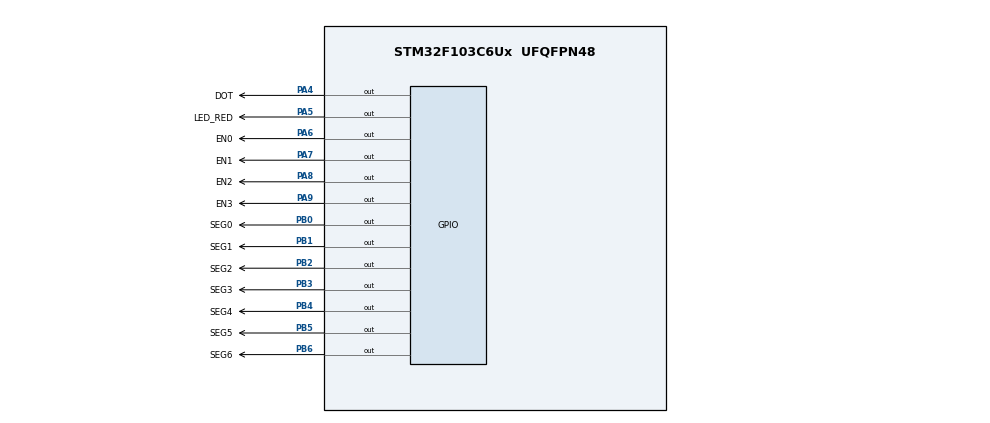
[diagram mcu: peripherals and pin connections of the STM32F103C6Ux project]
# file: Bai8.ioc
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Mcu.Family=STM32F1
Mcu.Name=STM32F103C6Ux
Mcu.Package=UFQFPN48
NVIC.PriorityGroup=NVIC_PRIORITYGROUP_4
NVIC.TIM2_IRQn=true\:0\:0\:false\:false\:true\:true\:true\:true
PA4.GPIO_Label=DOT
PA4.Signal=GPIO_Output
PA5.GPIO_Label=LED_RED
PA5.Signal=GPIO_Output
PA6.GPIO_Label=EN0
PA6.Signal=GPIO_Output
PA7.GPIO_Label=EN1
PA7.Signal=GPIO_Output
PA8.GPIO_Label=EN2
PA8.Signal=GPIO_Output
PA9.GPIO_Label=EN3
PA9.Signal=GPIO_Output
PB0.GPIO_Label=SEG0
PB0.Signal=GPIO_Output
PB1.GPIO_Label=SEG1
PB1.Signal=GPIO_Output
PB2.GPIO_Label=SEG2
PB2.Signal=GPIO_Output
PB3.GPIO_Label=SEG3
PB3.Signal=GPIO_Output
PB4.GPIO_Label=SEG4
PB4.Signal=GPIO_Output
PB5.GPIO_Label=SEG5
PB5.Signal=GPIO_Output
PB6.GPIO_Label=SEG6
PB6.Signal=GPIO_Output
ProjectManager.HeapSize=0x200
ProjectManager.StackSize=0x400
ProjectManager.TargetToolchain=STM32CubeIDE
RCC.APB1Freq_Value=8000000
RCC.APB2Freq_Value=8000000
TIM2.Period=9
TIM2.Prescaler=7999
VP_SYS_VS_ND.Mode=No_Debug
VP_TIM2_VS_ClockSourceINT.Mode=Internal
board=custom

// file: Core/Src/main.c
/* USER CODE BEGIN Header */
/**
 ******************************************************************************
 * @file           : main.c
 * @brief          : Main program body
 ******************************************************************************
 * @attention
 *
 * Copyright (c) 2022 STMicroelectronics.
 * All rights reserved.
 *
 * This software is licensed under terms that can be found in the LICENSE file
 * in the root directory of this software component.
 * If no LICENSE file comes with this software, it is provided AS-IS.
 *
 ******************************************************************************
 */
/* USER CODE END Header */
#include "main.h"

TIM_HandleTypeDef htim2;

void SystemClock_Config(void);
static void MX_GPIO_Init(void);
static void MX_TIM2_Init(void);

/* USER CODE BEGIN 0 */
void display7SEG(int num)
{
	// num is the time displayed on the 7-segment led
	if (num == 0)
	{
		HAL_GPIO_WritePin(SEG0_GPIO_Port, SEG0_Pin, 0);
		HAL_GPIO_WritePin(SEG1_GPIO_Port, SEG1_Pin, 0);
		HAL_GPIO_WritePin(SEG2_GPIO_Port, SEG2_Pin, 0);
		HAL_GPIO_WritePin(SEG3_GPIO_Port, SEG3_Pin, 0);
		HAL_GPIO_WritePin(SEG4_GPIO_Port, SEG4_Pin, 0);
		HAL_GPIO_WritePin(SEG5_GPIO_Port, SEG5_Pin, 0);
		HAL_GPIO_WritePin(SEG6_GPIO_Port, SEG6_Pin, 1);
	}
	if (num == 1)
	{
		HAL_GPIO_WritePin(SEG0_GPIO_Port, SEG0_Pin, 1);
		HAL_GPIO_WritePin(SEG1_GPIO_Port, SEG1_Pin, 0);
		HAL_GPIO_WritePin(SEG2_GPIO_Port, SEG2_Pin, 0);
		HAL_GPIO_WritePin(SEG3_GPIO_Port, SEG3_Pin, 1);
		HAL_GPIO_WritePin(SEG4_GPIO_Port, SEG4_Pin, 1);
		HAL_GPIO_WritePin(SEG5_GPIO_Port, SEG5_Pin, 1);
		HAL_GPIO_WritePin(SEG6_GPIO_Port, SEG6_Pin, 1);
	}
	if (num == 2)
	{
		HAL_GPIO_WritePin(SEG0_GPIO_Port, SEG0_Pin, 0);
		HAL_GPIO_WritePin(SEG1_GPIO_Port, SEG1_Pin, 0);
		HAL_GPIO_WritePin(SEG2_GPIO_Port, SEG2_Pin, 1);
		HAL_GPIO_WritePin(SEG3_GPIO_Port, SEG3_Pin, 0);
		HAL_GPIO_WritePin(SEG4_GPIO_Port, SEG4_Pin, 0);
		HAL_GPIO_WritePin(SEG5_GPIO_Port, SEG5_Pin, 1);
		HAL_GPIO_WritePin(SEG6_GPIO_Port, SEG6_Pin, 0);
	}
	if (num == 3)
	{
		HAL_GPIO_WritePin(SEG0_GPIO_Port, SEG0_Pin, 0);
		HAL_GPIO_WritePin(SEG1_GPIO_Port, SEG1_Pin, 0);
		HAL_GPIO_WritePin(SEG2_GPIO_Port, SEG2_Pin, 0);
		HAL_GPIO_WritePin(SEG3_GPIO_Port, SEG3_Pin, 0);
		HAL_GPIO_WritePin(SEG4_GPIO_Port, SEG4_Pin, 1);
		HAL_GPIO_WritePin(SEG5_GPIO_Port, SEG5_Pin, 1);
		HAL_GPIO_WritePin(SEG6_GPIO_Port, SEG6_Pin, 0);
	}
	if (num == 4)
	{
		HAL_GPIO_WritePin(SEG0_GPIO_Port, SEG0_Pin, 1);
		HAL_GPIO_WritePin(SEG1_GPIO_Port, SEG1_Pin, 0);
		HAL_GPIO_WritePin(SEG2_GPIO_Port, SEG2_Pin, 0);
		HAL_GPIO_WritePin(SEG3_GPIO_Port, SEG3_Pin, 1);
		HAL_GPIO_WritePin(SEG4_GPIO_Port, SEG4_Pin, 1);
		HAL_GPIO_WritePin(SEG5_GPIO_Port, SEG5_Pin, 0);
		HAL_GPIO_WritePin(SEG6_GPIO_Port, SEG6_Pin, 0);
	}
	if (num == 5)
	{
		HAL_GPIO_WritePin(SEG0_GPIO_Port, SEG0_Pin, 0);
		HAL_GPIO_WritePin(SEG1_GPIO_Port, SEG1_Pin, 1);
		HAL_GPIO_WritePin(SEG2_GPIO_Port, SEG2_Pin, 0);
		HAL_GPIO_WritePin(SEG3_GPIO_Port, SEG3_Pin, 0);
		HAL_GPIO_WritePin(SEG4_GPIO_Port, SEG4_Pin, 1);
		HAL_GPIO_WritePin(SEG5_GPIO_Port, SEG5_Pin, 0);
		HAL_GPIO_WritePin(SEG6_GPIO_Port, SEG6_Pin, 0);
	}
	if (num == 6)
	{
		HAL_GPIO_WritePin(SEG0_GPIO_Port, SEG0_Pin, 0);
		HAL_GPIO_WritePin(SEG1_GPIO_Port, SEG1_Pin, 1);
		HAL_GPIO_WritePin(SEG2_GPIO_Port, SEG2_Pin, 0);
		HAL_GPIO_WritePin(SEG3_GPIO_Port, SEG3_Pin, 0);
		HAL_GPIO_WritePin(SEG4_GPIO_Port, SEG4_Pin, 0);
		HAL_GPIO_WritePin(SEG5_GPIO_Port, SEG5_Pin, 0);
		HAL_GPIO_WritePin(SEG6_GPIO_Port, SEG6_Pin, 0);
	}
	if (num == 7)
	{
		HAL_GPIO_WritePin(SEG0_GPIO_Port, SEG0_Pin, 0);
		HAL_GPIO_WritePin(SEG1_GPIO_Port, SEG1_Pin, 0);
		HAL_GPIO_WritePin(SEG2_GPIO_Port, SEG2_Pin, 0);
		HAL_GPIO_WritePin(SEG3_GPIO_Port, SEG3_Pin, 1);
		HAL_GPIO_WritePin(SEG4_GPIO_Port, SEG4_Pin, 1);
		HAL_GPIO_WritePin(SEG5_GPIO_Port, SEG5_Pin, 1);
		HAL_GPIO_WritePin(SEG6_GPIO_Port, SEG6_Pin, 1);
	}
	if (num == 8)
	{
		HAL_GPIO_WritePin(SEG0_GPIO_Port, SEG0_Pin, 0);
		HAL_GPIO_WritePin(SEG1_GPIO_Port, SEG1_Pin, 0);
		HAL_GPIO_WritePin(SEG2_GPIO_Port, SEG2_Pin, 0);
		HAL_GPIO_WritePin(SEG3_GPIO_Port, SEG3_Pin, 0);
		HAL_GPIO_WritePin(SEG4_GPIO_Port, SEG4_Pin, 0);
		HAL_GPIO_WritePin(SEG5_GPIO_Port, SEG5_Pin, 0);
		HAL_GPIO_WritePin(SEG6_GPIO_Port, SEG6_Pin, 0);
	}
	if (num == 9)
	{
		HAL_GPIO_WritePin(SEG0_GPIO_Port, SEG0_Pin, 0);
		HAL_GPIO_WritePin(SEG1_GPIO_Port, SEG1_Pin, 0);
		HAL_GPIO_WritePin(SEG2_GPIO_Port, SEG2_Pin, 0);
		HAL_GPIO_WritePin(SEG3_GPIO_Port, SEG3_Pin, 0);
		HAL_GPIO_WritePin(SEG4_GPIO_Port, SEG4_Pin, 1);
		HAL_GPIO_WritePin(SEG5_GPIO_Port, SEG5_Pin, 0);
		HAL_GPIO_WritePin(SEG6_GPIO_Port, SEG6_Pin, 0);
	}
}

int led_buffer[4];
int hour = 15, minute = 8, second = 50;
void updateClockBuffer()
{
	led_buffer[0] = hour / 10;	 // 15:10=1
	led_buffer[1] = hour % 10;	 // 15%10=5
	led_buffer[2] = minute / 10; // 8:10=0
	led_buffer[3] = minute % 10; // 8%10=8
}

void update7SEG(int index)
{
	switch (index)
	{
	case 0:
		// Display the first 7SEG with led_buffer[0]
		HAL_GPIO_WritePin(EN0_GPIO_Port, EN0_Pin, 0);
		HAL_GPIO_WritePin(EN1_GPIO_Port, EN1_Pin, 1);
		HAL_GPIO_WritePin(EN2_GPIO_Port, EN2_Pin, 1);
		HAL_GPIO_WritePin(EN3_GPIO_Port, EN3_Pin, 1);
		display7SEG(led_buffer[0]);

		break;
	case 1:
		// Display the second 7SEG with led_buffer[1]
		HAL_GPIO_WritePin(EN0_GPIO_Port, EN0_Pin, 1);
		HAL_GPIO_WritePin(EN1_GPIO_Port, EN1_Pin, 0);
		HAL_GPIO_WritePin(EN2_GPIO_Port, EN2_Pin, 1);
		HAL_GPIO_WritePin(EN3_GPIO_Port, EN3_Pin, 1);
		display7SEG(led_buffer[1]);
		break;
	case 2:
		// Display the third 7SEG with led_buffer[2]
		HAL_GPIO_WritePin(EN0_GPIO_Port, EN0_Pin, 1);
		HAL_GPIO_WritePin(EN1_GPIO_Port, EN1_Pin, 1);
		HAL_GPIO_WritePin(EN2_GPIO_Port, EN2_Pin, 0);
		HAL_GPIO_WritePin(EN3_GPIO_Port, EN3_Pin, 1);
		display7SEG(led_buffer[2]);
		break;
	case 3:
		// Display the forth 7SEG with led_buffer[3]
		HAL_GPIO_WritePin(EN0_GPIO_Port, EN0_Pin, 1);
		HAL_GPIO_WritePin(EN1_GPIO_Port, EN1_Pin, 1);
		HAL_GPIO_WritePin(EN2_GPIO_Port, EN2_Pin, 1);
		HAL_GPIO_WritePin(EN3_GPIO_Port, EN3_Pin, 0);
		display7SEG(led_buffer[3]);
		break;
	default:
		break;
	}
}

int timer0_counter = 0;
int timer0_flag = 0;
int timer1_counter = 0;
int timer1_flag = 0;
int TIMER_CYCLE = 10;
void setTimer0(int duration)
{
	timer0_counter = duration / TIMER_CYCLE;
	timer0_flag = 0;
}

void setTimer1(int duration)
{
	timer1_counter = duration / TIMER_CYCLE;
	timer1_flag = 0;
}

void timer_run()
{
	if (timer0_counter > 0)
	{
		timer0_counter--;
		if (timer0_counter == 0)
			timer0_flag = 1;
	}
	if (timer1_counter > 0)
	{
		timer1_counter--;
		if (timer1_counter == 0)
			timer1_flag = 1;
	}
}

/* USER CODE END 0 */

int main(void)
{

	/* MCU Configuration--------------------------------------------------------*/

	/* Reset of all peripherals, Initializes the Flash interface and the Systick. */
	HAL_Init();

	/* Configure the system clock */
	SystemClock_Config();

	/* Initialize all configured peripherals */
	MX_GPIO_Init();
	MX_TIM2_Init();
	/* USER CODE BEGIN 2 */
	HAL_TIM_Base_Start_IT(&htim2);
	/* USER CODE END 2 */

	/* Infinite loop */
	/* USER CODE BEGIN WHILE */

	setTimer0(1000);
	setTimer1(500);
	int idx = 0;
	while (1)
	{
		if (timer0_flag == 1)
		{
			setTimer0(1000);
			second++;

			if (second >= 60)
			{
				second = 0;
				minute++;
			}
			if (minute >= 60)
			{
				minute = 0;
				hour++;
			}
			if (hour >= 24)
			{
				hour = 0;
			}
		}

		if (timer1_flag == 1)
		{
			setTimer1(500);

			if (idx > 3)
				idx = 0;

			HAL_GPIO_TogglePin(LED_RED_GPIO_Port, LED_RED_Pin);
			HAL_GPIO_TogglePin(DOT_GPIO_Port, DOT_Pin);
			updateClockBuffer();
			update7SEG(idx);
			idx++;
		}

		/* USER CODE END WHILE */

	}
}

void SystemClock_Config(void)
{
	RCC_OscInitTypeDef RCC_OscInitStruct = {0};
	RCC_ClkInitTypeDef RCC_ClkInitStruct = {0};

	/** Initializes the RCC Oscillators according to the specified parameters
	 * in the RCC_OscInitTypeDef structure.
	 */
	RCC_OscInitStruct.OscillatorType = RCC_OSCILLATORTYPE_HSI;
	RCC_OscInitStruct.HSIState = RCC_HSI_ON;
	RCC_OscInitStruct.HSICalibrationValue = RCC_HSICALIBRATION_DEFAULT;
	RCC_OscInitStruct.PLL.PLLState = RCC_PLL_NONE;
	if (HAL_RCC_OscConfig(&RCC_OscInitStruct) != HAL_OK)
	{
		Error_Handler();
	}

	/** Initializes the CPU, AHB and APB buses clocks
	 */
	RCC_ClkInitStruct.ClockType = RCC_CLOCKTYPE_HCLK | RCC_CLOCKTYPE_SYSCLK | RCC_CLOCKTYPE_PCLK1 | RCC_CLOCKTYPE_PCLK2;
	RCC_ClkInitStruct.SYSCLKSource = RCC_SYSCLKSOURCE_HSI;
	RCC_ClkInitStruct.AHBCLKDivider = RCC_SYSCLK_DIV1;
	RCC_ClkInitStruct.APB1CLKDivider = RCC_HCLK_DIV1;
	RCC_ClkInitStruct.APB2CLKDivider = RCC_HCLK_DIV1;

	if (HAL_RCC_ClockConfig(&RCC_ClkInitStruct, FLASH_LATENCY_0) != HAL_OK)
	{
		Error_Handler();
	}
}

static void MX_TIM2_Init(void)
{

	TIM_ClockConfigTypeDef sClockSourceConfig = {0};
	TIM_MasterConfigTypeDef sMasterConfig = {0};

	htim2.Instance = TIM2;
	htim2.Init.Prescaler = 7999;
	htim2.Init.CounterMode = TIM_COUNTERMODE_UP;
	htim2.Init.Period = 9;
	htim2.Init.ClockDivision = TIM_CLOCKDIVISION_DIV1;
	htim2.Init.AutoReloadPreload = TIM_AUTORELOAD_PRELOAD_DISABLE;
	if (HAL_TIM_Base_Init(&htim2) != HAL_OK)
	{
		Error_Handler();
	}
	sClockSourceConfig.ClockSource = TIM_CLOCKSOURCE_INTERNAL;
	if (HAL_TIM_ConfigClockSource(&htim2, &sClockSourceConfig) != HAL_OK)
	{
		Error_Handler();
	}
	sMasterConfig.MasterOutputTrigger = TIM_TRGO_RESET;
	sMasterConfig.MasterSlaveMode = TIM_MASTERSLAVEMODE_DISABLE;
	if (HAL_TIMEx_MasterConfigSynchronization(&htim2, &sMasterConfig) != HAL_OK)
	{
		Error_Handler();
	}
}

static void MX_GPIO_Init(void)
{
	GPIO_InitTypeDef GPIO_InitStruct = {0};

	/* GPIO Ports Clock Enable */
	__HAL_RCC_GPIOA_CLK_ENABLE();
	__HAL_RCC_GPIOB_CLK_ENABLE();

	/*Configure GPIO pin Output Level */
	HAL_GPIO_WritePin(GPIOA, DOT_Pin | LED_RED_Pin | EN0_Pin | EN1_Pin | EN2_Pin | EN3_Pin, GPIO_PIN_RESET);

	/*Configure GPIO pin Output Level */
	HAL_GPIO_WritePin(GPIOB, SEG0_Pin | SEG1_Pin | SEG2_Pin | SEG3_Pin | SEG4_Pin | SEG5_Pin | SEG6_Pin, GPIO_PIN_RESET);

	/*Configure GPIO pins : DOT_Pin LED_RED_Pin EN0_Pin EN1_Pin
							 EN2_Pin EN3_Pin */
	GPIO_InitStruct.Pin = DOT_Pin | LED_RED_Pin | EN0_Pin | EN1_Pin | EN2_Pin | EN3_Pin;
	GPIO_InitStruct.Mode = GPIO_MODE_OUTPUT_PP;
	GPIO_InitStruct.Pull = GPIO_NOPULL;
	GPIO_InitStruct.Speed = GPIO_SPEED_FREQ_LOW;
	HAL_GPIO_Init(GPIOA, &GPIO_InitStruct);

	/*Configure GPIO pins : SEG0_Pin SEG1_Pin SEG2_Pin SEG3_Pin
							 SEG4_Pin SEG5_Pin SEG6_Pin */
	GPIO_InitStruct.Pin = SEG0_Pin | SEG1_Pin | SEG2_Pin | SEG3_Pin | SEG4_Pin | SEG5_Pin | SEG6_Pin;
	GPIO_InitStruct.Mode = GPIO_MODE_OUTPUT_PP;
	GPIO_InitStruct.Pull = GPIO_NOPULL;
	GPIO_InitStruct.Speed = GPIO_SPEED_FREQ_LOW;
	HAL_GPIO_Init(GPIOB, &GPIO_InitStruct);
}

/* USER CODE BEGIN 4 */
void HAL_TIM_PeriodElapsedCallback(TIM_HandleTypeDef *htim)
{
	timer_run();
}
/* USER CODE END 4 */

void Error_Handler(void)
{
	__disable_irq();
	while (1)
	{
	}
}
